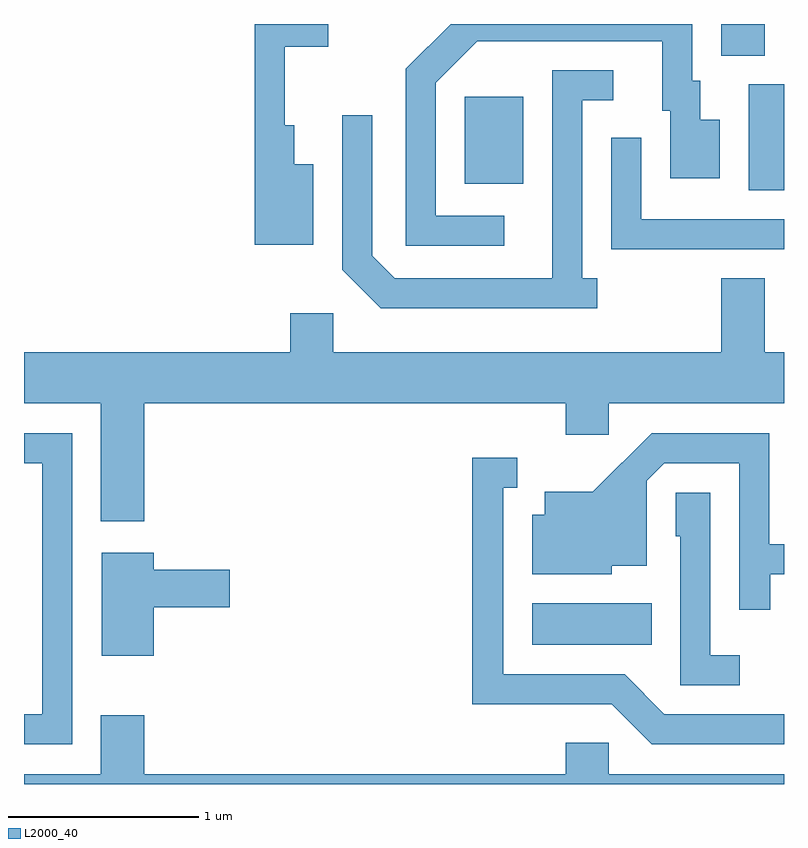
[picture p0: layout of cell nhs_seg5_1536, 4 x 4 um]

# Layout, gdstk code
import gdstk
lib = gdstk.Library(unit=1e-6, precision=1e-09)
def R(c, l, rs):  # rectangles x0, y0, x1, y1
    for r in rs: c.add(gdstk.rectangle(r[:2], r[2:], *l))
def P(c, l, *ps):  # polygons
    for p in ps: c.add(gdstk.Polygon(p, *l))
L2000_40 = (2000, 40)

nhs_seg5_1536 = lib.new_cell('nhs_seg5_1536')
R(nhs_seg5_1536, L2000_40, [(232.286,1508.806,232.914,1509.024), (233.426,1511.196,233.611,1511.754), (231.931,1511.231,232.239,1511.689), (233.281,1511.906,233.509,1512.072)])
P(nhs_seg5_1536, L2000_40, [(232.138,1511.064),(231.779,1511.064),(231.779,1511.764),(231.997,1511.981),(232.971,1511.981),(232.971,1511.616),(233.011,1511.616),(233.011,1511.261),(233.274,1511.261),(233.274,1511.569),(233.169,1511.569),(233.169,1511.774),(233.129,1511.774),(233.129,1512.072),(231.857,1512.072),(231.621,1511.837),(231.621,1510.906),(232.138,1510.906)],
  [(231.134,1511.334),(231.034,1511.334),(231.034,1511.539),(230.984,1511.539),(230.984,1511.951),(231.213,1511.951),(231.213,1512.072),(230.826,1512.072),(230.826,1510.911),(231.134,1510.911)],
  [(232.628,1510.734),(232.549,1510.734),(232.549,1511.671),(232.713,1511.671),(232.713,1511.829),(232.391,1511.829),(232.391,1510.734),(231.562,1510.734),(231.444,1510.852),(231.444,1511.593),(231.286,1511.593),(231.286,1510.779),(231.489,1510.576),(232.628,1510.576)],
  [(233.611,1511.044),(232.859,1511.044),(232.859,1511.473),(232.701,1511.473),(232.701,1510.886),(233.611,1510.886)],
  [(230.244,1510.076),(232.461,1510.076),(232.461,1509.911),(232.689,1509.911),(232.689,1510.076),(233.611,1510.076),(233.611,1510.344),(233.509,1510.344),(233.509,1510.734),(233.281,1510.734),(233.281,1510.344),(231.239,1510.344),(231.239,1510.549),(231.011,1510.549),(231.011,1510.344),(229.611,1510.344),(229.611,1510.076),(230.016,1510.076),(230.016,1509.456),(230.244,1509.456)],
  [(233.539,1509.176),(233.611,1509.176),(233.611,1509.334),(233.534,1509.334),(233.534,1509.919),(232.914,1509.919),(232.604,1509.609),(232.351,1509.609),(232.351,1509.489),(232.286,1509.489),(232.286,1509.176),(232.704,1509.176),(232.704,1509.221),(232.889,1509.221),(232.889,1509.669),(232.982,1509.761),(233.376,1509.761),(233.376,1508.988),(233.539,1508.988)],
  [(229.864,1509.919),(229.611,1509.919),(229.611,1509.761),(229.706,1509.761),(229.706,1508.439),(229.611,1508.439),(229.611,1508.281),(229.864,1508.281)],
  [(233.611,1508.439),(232.982,1508.439),(232.772,1508.649),(232.134,1508.649),(232.134,1509.631),(232.208,1509.631),(232.208,1509.789),(231.971,1509.789),(231.971,1508.491),(232.704,1508.491),(232.914,1508.281),(233.611,1508.281)],
  [(233.378,1508.749),(233.224,1508.749),(233.224,1509.604),(233.041,1509.604),(233.041,1509.376),(233.066,1509.376),(233.066,1508.591),(233.378,1508.591)],
  [(230.294,1509.001),(230.694,1509.001),(230.694,1509.199),(230.294,1509.199),(230.294,1509.289),(230.021,1509.289),(230.021,1508.746),(230.294,1508.746)],
  [(233.611,1508.124),(232.689,1508.124),(232.689,1508.289),(232.461,1508.289),(232.461,1508.124),(230.244,1508.124),(230.244,1508.434),(230.016,1508.434),(230.016,1508.124),(229.611,1508.124),(229.611,1508.072),(233.611,1508.072)])

lib.write_gds('nhs_seg5_1536.gds')
